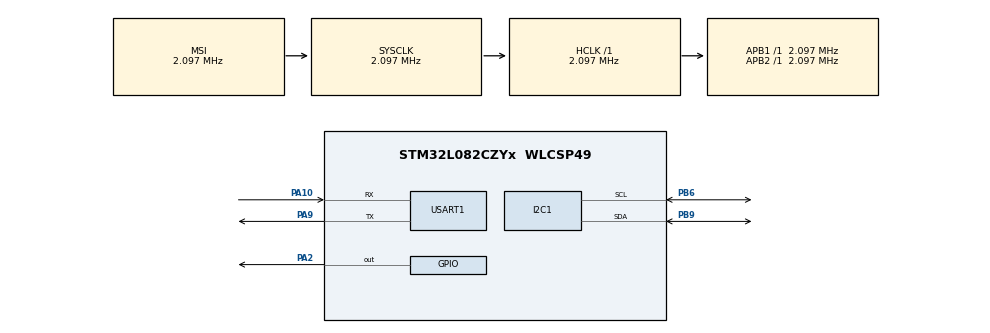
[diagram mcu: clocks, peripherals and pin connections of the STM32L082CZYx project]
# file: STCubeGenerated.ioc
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Mcu.Family=STM32L0
Mcu.Name=STM32L082CZYx
Mcu.Package=WLCSP49
PA10.Mode=Asynchronous
PA10.Signal=USART1_RX
PA2.Signal=GPIO_Output
PA9.Mode=Asynchronous
PA9.Signal=USART1_TX
PB6.Mode=I2C
PB6.Signal=I2C1_SCL
PB9.Mode=I2C
PB9.Signal=I2C1_SDA
ProjectManager.HeapSize=0x200
ProjectManager.StackSize=0x400
ProjectManager.TargetToolchain=MDK-ARM V5
RCC.AHBFreq_Value=2097000
RCC.APB1Freq_Value=2097000
RCC.APB1TimFreq_Value=2097000
RCC.APB2Freq_Value=2097000
RCC.APB2TimFreq_Value=2097000
RCC.HSE_VALUE=8000000
RCC.HSI16_VALUE=16000000
RCC.HSI48_VALUE=48000000
RCC.HSI_VALUE=16000000
RCC.LSE_VALUE=32768
RCC.MSI_VALUE=2097000
RCC.SYSCLKFreq_VALUE=2097000
RCC.VCOOutputFreq_Value=48000000
USART1.VirtualMode-Asynchronous=VM_ASYNC
board=custom

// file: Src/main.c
/* USER CODE BEGIN Header */
/**
  ******************************************************************************
  * @file           : main.c
  * @brief          : Main program body
  ******************************************************************************
  * @attention
  *
  * <h2><center>&copy; Copyright (c) 2019 STMicroelectronics.
  * All rights reserved.</center></h2>
  *
  * This software component is licensed by ST under BSD 3-Clause license,
  * the "License"; You may not use this file except in compliance with the
  * License. You may obtain a copy of the License at:
  *                        opensource.org/licenses/BSD-3-Clause
  *
  ******************************************************************************
  */
/* USER CODE END Header */

#include "main.h"

/* USER CODE BEGIN Includes */
#include <string.h>
//include <stdio.h>

/* USER CODE END Includes */

I2C_HandleTypeDef hi2c1;

UART_HandleTypeDef huart1;

/* USER CODE BEGIN PV */

int fputc(int ch, FILE *f){  HAL_UART_Transmit(&huart1, (uint8_t *)&ch, 1, 0xFFFF);  return ch;}

/* USER CODE END PV */

void SystemClock_Config(void);
static void MX_GPIO_Init(void);
static void MX_I2C1_Init(void);
static void MX_USART1_UART_Init(void);

/* USER CODE BEGIN 0 */

/**
  * Override default HAL_GetTick function
  */
uint32_t HAL_GetTick (void) {
  static uint32_t ticks = 0U;
         uint32_t i;

  /* If Kernel is not running wait approximately 1 ms then increment
     and return auxiliary tick counter value */
  for (i = (SystemCoreClock >> 14U); i > 0U; i--) {
    __NOP(); __NOP(); __NOP(); __NOP(); __NOP(); __NOP();
    __NOP(); __NOP(); __NOP(); __NOP(); __NOP(); __NOP();
  }
  return ++ticks;
}

/* USER CODE END 0 */

int main(void)
{

  /* MCU Configuration--------------------------------------------------------*/

  /* Reset of all peripherals, Initializes the Flash interface and the Systick. */
  HAL_Init();

  /* Configure the system clock */
  SystemClock_Config();

  /* USER CODE BEGIN SysInit */
    //stdin_init();                             /* Initialize printf output      */

  /* USER CODE END SysInit */

  /* Initialize all configured peripherals */
  MX_GPIO_Init();
  MX_I2C1_Init();
  MX_USART1_UART_Init();
  /* USER CODE BEGIN 2 */

	char uart2Data[24] = "Connected to UART One\r\n";
	/*
	* Output to uart2
	* use screen or putty or whatever terminal software
	* 8N1 115200
	*/
	HAL_UART_Transmit(&huart1, (uint8_t *)&uart2Data,sizeof(uart2Data), HAL_MAX_DELAY);

	printf("\r\n");

	printf("Scanning I2C bus:\r\n");
	HAL_StatusTypeDef result;
	uint8_t i;

  /* USER CODE END 2 */

  /* Infinite loop */
  /* USER CODE BEGIN WHILE */
		while(1)
			{
				for (i=1; i<128; i++)
				{
					/*
					 * the HAL wants a left aligned i2c address
					 * &hi2c1 is the handle
					 * (uint16_t)(i<<1) is the i2c address left aligned
					 * retries 2
					 * timeout 2
					 */
					result = HAL_I2C_IsDeviceReady(&hi2c1, (uint16_t)(i<<1), 20, 20);
					if (result != HAL_OK) // HAL_ERROR or HAL_BUSY or HAL_TIMEOUT

					{
							printf("."); // No ACK received at that address
					}
					if (result == HAL_OK)
					{
							printf("0x%X", i); // Received an ACK at that address
					}
    }
    printf("\r\n");
    HAL_GPIO_TogglePin(GPIOA, GPIO_PIN_2);

    /* USER CODE END WHILE */

  }
}

void SystemClock_Config(void)
{
  RCC_OscInitTypeDef RCC_OscInitStruct = {0};
  RCC_ClkInitTypeDef RCC_ClkInitStruct = {0};
  RCC_PeriphCLKInitTypeDef PeriphClkInit = {0};

  /** Configure the main internal regulator output voltage
  */
  __HAL_PWR_VOLTAGESCALING_CONFIG(PWR_REGULATOR_VOLTAGE_SCALE1);
  /** Initializes the CPU, AHB and APB busses clocks
  */
  RCC_OscInitStruct.OscillatorType = RCC_OSCILLATORTYPE_MSI;
  RCC_OscInitStruct.MSIState = RCC_MSI_ON;
  RCC_OscInitStruct.MSICalibrationValue = 0;
  RCC_OscInitStruct.MSIClockRange = RCC_MSIRANGE_5;
  RCC_OscInitStruct.PLL.PLLState = RCC_PLL_NONE;
  if (HAL_RCC_OscConfig(&RCC_OscInitStruct) != HAL_OK)
  {
    Error_Handler();
  }
  /** Initializes the CPU, AHB and APB busses clocks
  */
  RCC_ClkInitStruct.ClockType = RCC_CLOCKTYPE_HCLK|RCC_CLOCKTYPE_SYSCLK
                              |RCC_CLOCKTYPE_PCLK1|RCC_CLOCKTYPE_PCLK2;
  RCC_ClkInitStruct.SYSCLKSource = RCC_SYSCLKSOURCE_MSI;
  RCC_ClkInitStruct.AHBCLKDivider = RCC_SYSCLK_DIV1;
  RCC_ClkInitStruct.APB1CLKDivider = RCC_HCLK_DIV1;
  RCC_ClkInitStruct.APB2CLKDivider = RCC_HCLK_DIV1;

  if (HAL_RCC_ClockConfig(&RCC_ClkInitStruct, FLASH_LATENCY_0) != HAL_OK)
  {
    Error_Handler();
  }
  PeriphClkInit.PeriphClockSelection = RCC_PERIPHCLK_USART1|RCC_PERIPHCLK_I2C1;
  PeriphClkInit.Usart1ClockSelection = RCC_USART1CLKSOURCE_PCLK2;
  PeriphClkInit.I2c1ClockSelection = RCC_I2C1CLKSOURCE_PCLK1;
  if (HAL_RCCEx_PeriphCLKConfig(&PeriphClkInit) != HAL_OK)
  {
    Error_Handler();
  }
}

static void MX_I2C1_Init(void)
{

  hi2c1.Instance = I2C1;
  hi2c1.Init.Timing = 0x00000708;
  hi2c1.Init.OwnAddress1 = 0;
  hi2c1.Init.AddressingMode = I2C_ADDRESSINGMODE_7BIT;
  hi2c1.Init.DualAddressMode = I2C_DUALADDRESS_DISABLE;
  hi2c1.Init.OwnAddress2 = 0;
  hi2c1.Init.OwnAddress2Masks = I2C_OA2_NOMASK;
  hi2c1.Init.GeneralCallMode = I2C_GENERALCALL_DISABLE;
  hi2c1.Init.NoStretchMode = I2C_NOSTRETCH_DISABLE;
  if (HAL_I2C_Init(&hi2c1) != HAL_OK)
  {
    Error_Handler();
  }
  /** Configure Analogue filter
  */
  if (HAL_I2CEx_ConfigAnalogFilter(&hi2c1, I2C_ANALOGFILTER_ENABLE) != HAL_OK)
  {
    Error_Handler();
  }
  /** Configure Digital filter
  */
  if (HAL_I2CEx_ConfigDigitalFilter(&hi2c1, 0) != HAL_OK)
  {
    Error_Handler();
  }

}

static void MX_USART1_UART_Init(void)
{

  huart1.Instance = USART1;
  huart1.Init.BaudRate = 115200;
  huart1.Init.WordLength = UART_WORDLENGTH_8B;
  huart1.Init.StopBits = UART_STOPBITS_1;
  huart1.Init.Parity = UART_PARITY_NONE;
  huart1.Init.Mode = UART_MODE_TX_RX;
  huart1.Init.HwFlowCtl = UART_HWCONTROL_NONE;
  huart1.Init.OverSampling = UART_OVERSAMPLING_16;
  huart1.Init.OneBitSampling = UART_ONE_BIT_SAMPLE_DISABLE;
  huart1.AdvancedInit.AdvFeatureInit = UART_ADVFEATURE_NO_INIT;
  if (HAL_UART_Init(&huart1) != HAL_OK)
  {
    Error_Handler();
  }

}

static void MX_GPIO_Init(void)
{
  GPIO_InitTypeDef GPIO_InitStruct = {0};

  /* GPIO Ports Clock Enable */
  __HAL_RCC_GPIOB_CLK_ENABLE();
  __HAL_RCC_GPIOA_CLK_ENABLE();

  /*Configure GPIO pin Output Level */
  HAL_GPIO_WritePin(GPIOA, GPIO_PIN_2, GPIO_PIN_RESET);

  /*Configure GPIO pin : PA2 */
  GPIO_InitStruct.Pin = GPIO_PIN_2;
  GPIO_InitStruct.Mode = GPIO_MODE_OUTPUT_PP;
  GPIO_InitStruct.Pull = GPIO_NOPULL;
  GPIO_InitStruct.Speed = GPIO_SPEED_FREQ_LOW;
  HAL_GPIO_Init(GPIOA, &GPIO_InitStruct);

}

/* USER CODE BEGIN 4 */

void my_printf(){

}

/* USER CODE END 4 */

void Error_Handler(void)
{
}

/************************ (C) COPYRIGHT STMicroelectronics *****END OF FILE****/
